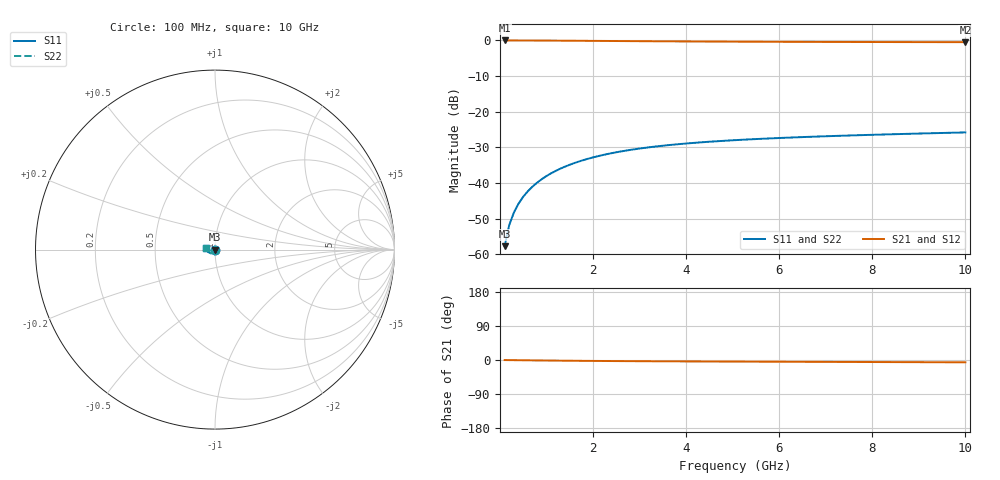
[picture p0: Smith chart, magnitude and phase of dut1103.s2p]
! Touchstone file exported from HFSS 2024.1.0
!  File:  C:/UserFiles/LocalFiles/RDL_TSV_Batchsim/temp_TSV1_1103_1780067310.aedt
!  Generated:  11:14:27 PM May 29, 2026
!  Design:  TSV1
!  Project:  temp_TSV1_1103_1780067310
!  Setup:  Setup1
!  Solution:  Sweep
! Variables:
!  dtsv = 9.15um
!  hbump = 3um
!  htsv = 96.75um
!  lrdl = 252.1521522um
!  p = 40
!  p1 = 52.04um
!  t = 500um
!  trdl = 3um
!  wrdl = 24.89489489um
# GHz S MA R 50.000000
! Terminal data exported
! Port[1] = TSV22_T1
! Port[2] = TSV22_T2
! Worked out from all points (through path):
!   100 points, 100 MHz to 10 GHz, reference 50 ohm
!   highest |S21| = 0.00 dB at 100 MHz (marker M1); lowest = -0.5 dB at 10 GHz (marker M2)
!   lowest |S11| = -57.7 dB at 100 MHz (marker M3), VSWR 1.00, Z = 50 - j0.129 ohm
!   |S11| at or under -10 dB: start of sweep to end of sweep
!   |S22| runs from -57.7 to -25.8 dB; largest |S21 - S12| = 4.1e-15
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0.1  0.0013 -83.3  0.9998 -0.1  0.9998 -0.1  0.0013 -83.3
! Gamma 0 0 0 0
! Port Impedance 50 0 50 0
0.2  0.002581 -89.3  0.9996 -0.3  0.9996 -0.3  0.002581 -89.3
0.3  0.003865 -92.5  0.9994 -0.4  0.9994 -0.4  0.003865 -92.5
0.4  0.005145 -95.1  0.9991 -0.6  0.9991 -0.6  0.005145 -95.1
0.5  0.006416 -97.4  0.9987 -0.7  0.9987 -0.7  0.006416 -97.4
0.6  0.007675 -99.6  0.9982 -0.8  0.9982 -0.8  0.007675 -99.6
0.7  0.008918 -101.7  0.9977 -1.0  0.9977 -1.0  0.008918 -101.7
0.8  0.01014 -103.7  0.9971 -1.1  0.9971 -1.1  0.01014 -103.7
0.9  0.01135 -105.7  0.9964 -1.2  0.9964 -1.2  0.01135 -105.7
1.1  0.01369 -109.4  0.9949 -1.5  0.9949 -1.5  0.01369 -109.4
1.4  0.017 -114.8  0.9924 -1.8  0.9924 -1.8  0.017 -114.8
1.6  0.01908 -118.2  0.9905 -2.0  0.9905 -2.0  0.01908 -118.2
1.8  0.02104 -121.5  0.9885 -2.2  0.9885 -2.2  0.02104 -121.5
2.1  0.02375 -126.2  0.9855 -2.5  0.9855 -2.5  0.02375 -126.2
2.5  0.02699 -132.0  0.9815 -2.8  0.9815 -2.8  0.02699 -132.0
2.9  0.02981 -137.4  0.9777 -3.1  0.9777 -3.1  0.02981 -137.4
3.4  0.03282 -143.5  0.9732 -3.4  0.9732 -3.4  0.03282 -143.5
4.2  0.03671 -152.1  0.967 -3.8  0.967 -3.8  0.03671 -152.0
5.1  0.0401 -160.3  0.9615 -4.2  0.9615 -4.2  0.0401 -160.3
6.7  0.04459 -172.2  0.9544 -4.8  0.9544 -4.8  0.04458 -172.2
8.4  0.04826 177.6  0.9495 -5.5  0.9495 -5.5  0.04826 177.6
10  0.05128 169.5  0.9464 -6.1  0.9464 -6.1  0.05128 169.5
